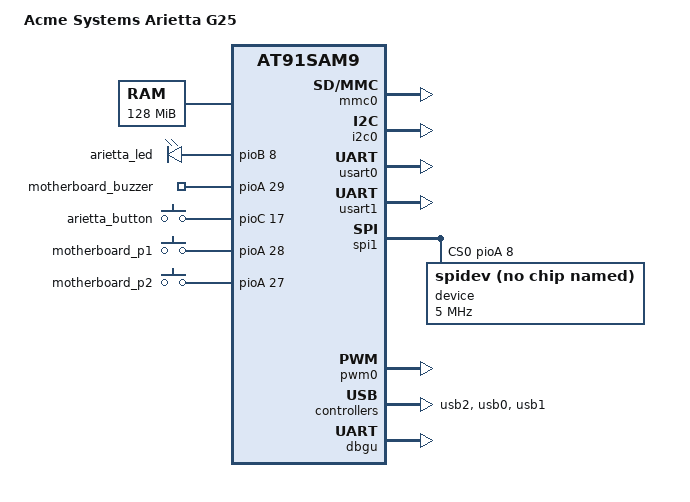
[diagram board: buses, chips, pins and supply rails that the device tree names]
/*
 * acme-arietta.dts - Device Tree file for Arietta G25
 * Generated by http://dts.acmesystems.it/arietta
 */
/dts-v1/;

/*
 * For Volcano Board http://volcano.hardelettrosoft.com , preliminary version.
 */

#include "at91sam9g25.dtsi"
/ {
	model = "Acme Systems Arietta G25";
	compatible = "acme,ariettag25", "atmel,at91sam9x5ek","atmel,at91sam9x5", "atmel,at91sam9";
	aliases {
		serial0 = &dbgu;
		serial1 = &usart0;
		serial2 = &usart1;
		serial3 = &usart2;
		serial4 = &usart3;
		serial5 = &uart0;
		serial6 = &uart1;
	};
	chosen {
		bootargs = "console=ttyS0,115200 root=/dev/mmcblk0p2 rw rootwait";
	};
	memory {
		reg = <0x20000000 0x8000000>;
	};
	clocks {
		#address-cells = <1>;
		#size-cells = <1>;
		ranges;
		main_clock: clock@0 {
			compatible = "atmel,osc", "fixed-clock";
			clock-frequency = <12000000>;
		};
		slow_xtal {
			clock-frequency = <32768>;
		};
		main_xtal { 
			clock-frequency = <12000000>; 
		}; 
	};
	ahb {
		apb {
			mmc0: mmc@f0008000 {
				pinctrl-0 = <
				  &pinctrl_mmc0_slot0_clk_cmd_dat0
				  &pinctrl_mmc0_slot0_dat1_3>;
				status = "okay";
				slot@0 {
					reg = <0>;
					bus-width = <4>;
				};
			};
			i2c0: i2c@f8010000 {
				status ="okay";
			};
			usart0: serial@f801c000 {
				pinctrl-0 = <&pinctrl_usart0>;
				status ="okay";
			};
			usart1: serial@f8020000 {
				pinctrl-0 = <&pinctrl_usart1>;
				status ="okay";
			};
			spi1: spi@f0004000 {
				status = "okay";
				cs-gpios = <&pioA 8 0>, <&pioA 0 0>, <&pioA 31 0>, <&pioA 30 0>;
				device@0 {
					compatible = "spidev";
					spi-max-frequency = <5000000>;	    // 5 MHz
					reg = <0>;
				};
			};

			pinctrl@fffff400 {
				pwm0 {
					pinctrl_pwm0_0: pwm0_0-0 {
						atmel,pins =
							< AT91_PIOB 11 AT91_PERIPH_B AT91_PINCTRL_NONE>;
					};
					pinctrl_pwm0_1: pwm0_1-0 {
						atmel,pins =
							< AT91_PIOB 12 AT91_PERIPH_B AT91_PINCTRL_NONE>;
					};
					pinctrl_pwm0_2: pwm0_2-0 {
						atmel,pins =
							< AT91_PIOB 13 AT91_PERIPH_B AT91_PINCTRL_NONE>;
					};
					pinctrl_pwm0_3: pwm0_3-0 {
						atmel,pins =
							< AT91_PIOB 14 AT91_PERIPH_B AT91_PINCTRL_NONE>;
					};
				};
			};
			pwm0: pwm@f8034000 {
				pinctrl-names = "default";
				pinctrl-0 = <&pinctrl_pwm0_0 &pinctrl_pwm0_1 &pinctrl_pwm0_2 &pinctrl_pwm0_3>;
				status = "okay";
			};

			ssc0: ssc@f0010000 {
				status = "okay";
			};
			usb2: gadget@f803c000 {
				status = "okay";
			};
			dbgu: serial@fffff200 {
				status = "okay";
			};
			pinctrl@fffff400 {
			};
			rtc@fffffeb0 {
				status = "okay";
			};
		};
		usb0: ohci@00600000 {
			status = "okay";
			num-ports = <3>;
		};
		usb1: ehci@00700000 {
			status = "okay";
		};
	};
	leds {
		compatible = "gpio-leds";
		arietta_led {
			label = "arietta_led";
			gpios = <&pioB 8 GPIO_ACTIVE_HIGH>; /* PB8 */
			linux,default-trigger = "cpu0";
		};
	};
	buzzer {
		compatible = "gpio-leds";
		motherboard_buzzer {
			label = "motherboard_buzzer";
			gpios = <&pioA 29 GPIO_ACTIVE_HIGH>; /* PA29 */
			linux,default-trigger = "none";
		};
	};

	buttons {
		compatible = "gpio-keys";
		#address-cells = <1>;
                #size-cells = <0>;

/* INTERRUPTS */
/* 1) ?  http://sg.danny.cz/foxg20/ag25g20_utils/ariag25_gpio.txt  -> 
      ?   NUM BANK(A,B,C,D -> 1,2,3,4) *32 - 32 + BIT OF BANK(0..31). EX: PC17 -> 3*32-32+17 = 81  */
/* 2) IRQ_TYPE_XXX  */
/* 3) 7 = max priority*/

		arietta_button {
			label = "arietta_button";
			gpios = <&pioC 17 0>; /* PC17 */
			interrupts = <81 IRQ_TYPE_EDGE_FALLING 7>;
			linux,code = <28>; /* KEY_ENTER */
			key-is-active-low;
			debounce-intervall = <50>;
		};
		p1: motherboard_p1 {
			label = "motherboard_p1";
			gpios = <&pioA 28 0>; /* PA28 */
			interrupts = <28 IRQ_TYPE_EDGE_FALLING 7>; /* scegleire se va bene */
			linux,code = <2>; /* KEY_1 */
			key-is-active-low;
			debounce-intervall = <50>;
		};
		p2: motherboard_p2 {
			label = "motherboard_p2";
			gpios = <&pioA 27 0>; /* PA27 */
			interrupts = <27 IRQ_TYPE_LEVEL_LOW 7>;  /*per provare differenza */
			linux,code = <3>; /* KEY_2 */
			key-is-active-low;
			debounce-intervall = <50>;
		};
	};

};


